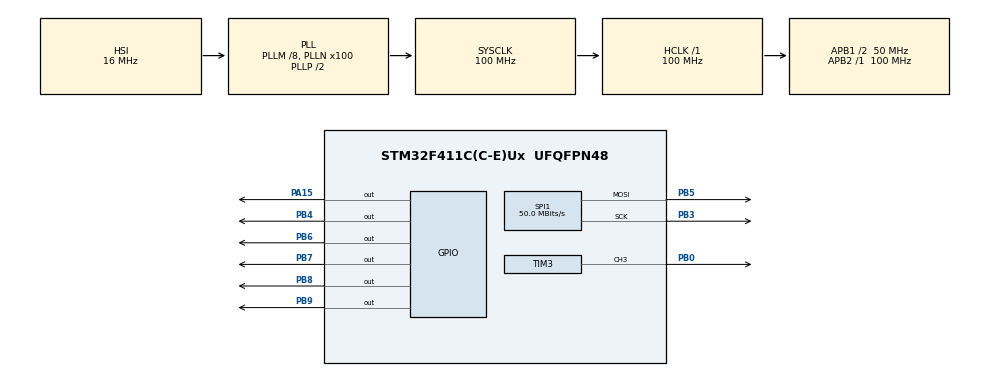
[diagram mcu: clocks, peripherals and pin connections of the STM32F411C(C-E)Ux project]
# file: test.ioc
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Dma.Request0=SPI1_TX
Dma.SPI1_TX.0.Direction=DMA_MEMORY_TO_PERIPH
Dma.SPI1_TX.0.FIFOMode=DMA_FIFOMODE_DISABLE
Dma.SPI1_TX.0.Instance=DMA2_Stream2
Dma.SPI1_TX.0.MemDataAlignment=DMA_MDATAALIGN_BYTE
Dma.SPI1_TX.0.MemInc=DMA_MINC_ENABLE
Dma.SPI1_TX.0.Mode=DMA_NORMAL
Dma.SPI1_TX.0.PeriphDataAlignment=DMA_PDATAALIGN_BYTE
Dma.SPI1_TX.0.PeriphInc=DMA_PINC_DISABLE
Dma.SPI1_TX.0.Priority=DMA_PRIORITY_LOW
FREERTOS.Tasks01=defaultTask,24,128,StartDefaultTask,Default,NULL,Dynamic,NULL,NULL
Mcu.Family=STM32F4
Mcu.Name=STM32F411C(C-E)Ux
Mcu.Package=UFQFPN48
NVIC.DMA2_Stream2_IRQn=true\:5\:0\:true\:false\:true\:true\:false\:true\:true
NVIC.PriorityGroup=NVIC_PRIORITYGROUP_4
NVIC.SPI1_IRQn=true\:5\:0\:true\:false\:true\:true\:true\:true\:true
PA13.Mode=Serial_Wire
PA13.Signal=SYS_JTMS-SWDIO
PA14.Mode=Serial_Wire
PA14.Signal=SYS_JTCK-SWCLK
PA15.PinState=GPIO_PIN_SET
PA15.Signal=GPIO_Output
PB0.Signal=S_TIM3_CH3
PB3.Mode=TX_Only_Simplex_Unidirect_Master
PB3.Signal=SPI1_SCK
PB4.GPIO_Speed=GPIO_SPEED_FREQ_VERY_HIGH
PB4.PinState=GPIO_PIN_SET
PB4.Signal=GPIO_Output
PB5.Mode=TX_Only_Simplex_Unidirect_Master
PB5.Signal=SPI1_MOSI
PB6.GPIO_Speed=GPIO_SPEED_FREQ_VERY_HIGH
PB6.PinState=GPIO_PIN_SET
PB6.Signal=GPIO_Output
PB7.PinState=GPIO_PIN_SET
PB7.Signal=GPIO_Output
PB8.PinState=GPIO_PIN_SET
PB8.Signal=GPIO_Output
PB9.GPIO_Speed=GPIO_SPEED_FREQ_VERY_HIGH
PB9.Signal=GPIO_Output
PC14-OSC32_IN.Mode=LSE-External-Oscillator
PC14-OSC32_IN.Signal=RCC_OSC32_IN
PC15-OSC32_OUT.Mode=LSE-External-Oscillator
PC15-OSC32_OUT.Signal=RCC_OSC32_OUT
ProjectManager.HeapSize=0x200
ProjectManager.StackSize=0x400
ProjectManager.TargetToolchain=MDK-ARM V5.32
RCC.48MHZClocksFreq_Value=50000000
RCC.AHBFreq_Value=100000000
RCC.APB1CLKDivider=RCC_HCLK_DIV2
RCC.APB1Freq_Value=50000000
RCC.APB1TimFreq_Value=100000000
RCC.APB2Freq_Value=100000000
RCC.APB2TimFreq_Value=100000000
RCC.CortexFreq_Value=100000000
RCC.HCLKFreq_Value=100000000
RCC.HSE_VALUE=25000000
RCC.HSI_VALUE=16000000
RCC.PLLM=8
RCC.PLLN=100
RCC.RCC_RTC_Clock_Source=RCC_RTCCLKSOURCE_LSE
RCC.SYSCLKFreq_VALUE=100000000
RCC.SYSCLKSource=RCC_SYSCLKSOURCE_PLLCLK
RCC.VCOOutputFreq_Value=200000000
SH.S_TIM3_CH3.0=TIM3_CH3,PWM Generation3 CH3
SPI1.CLKPhase=SPI_PHASE_2EDGE
SPI1.CLKPolarity=SPI_POLARITY_HIGH
SPI1.CalculateBaudRate=50.0 MBits/s
SPI1.Direction=SPI_DIRECTION_2LINES
SPI1.Mode=SPI_MODE_MASTER
SPI1.VirtualType=VM_MASTER
TIM3.Channel-PWM\ Generation3\ CH3=TIM_CHANNEL_3
TIM3.Period=300
TIM3.Prescaler=99
VP_FREERTOS_VS_CMSIS_V2.Mode=CMSIS_V2
VP_RTC_VS_RTC_Activate.Mode=RTC_Enabled
VP_TIM3_VS_ClockSourceINT.Mode=Internal
board=custom

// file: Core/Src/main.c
/* USER CODE BEGIN Header */
/**
  ******************************************************************************
  * @file           : main.c
  * @brief          : Main program body
  ******************************************************************************
  * @attention
  *
  * Copyright (c) 2026 STMicroelectronics.
  * All rights reserved.
  *
  * This software is licensed under terms that can be found in the LICENSE file
  * in the root directory of this software component.
  * If no LICENSE file comes with this software, it is provided AS-IS.
  *
  ******************************************************************************
  */
/* USER CODE END Header */
#include "main.h"
#include "cmsis_os2.h"
#include "dma.h"
#include "rtc.h"
#include "spi.h"
#include "tim.h"
#include "gpio.h"

void SystemClock_Config(void);
void MX_FREERTOS_Init(void);

int main(void)
{

  /* MCU Configuration--------------------------------------------------------*/

  /* Reset of all peripherals, Initializes the Flash interface and the Systick. */
  HAL_Init();

  /* Configure the system clock */
  SystemClock_Config();

  /* Initialize all configured peripherals */
  MX_GPIO_Init();
  MX_DMA_Init();
  MX_RTC_Init();
  MX_SPI1_Init();
  MX_TIM3_Init();

  /* Init scheduler */
  osKernelInitialize();  /* Call init function for freertos objects (in cmsis_os2.c) */
  MX_FREERTOS_Init();

  /* Start scheduler */
  osKernelStart();

  /* We should never get here as control is now taken by the scheduler */

  /* Infinite loop */
  while (1)
  {

  }
}

void SystemClock_Config(void)
{
  RCC_OscInitTypeDef RCC_OscInitStruct = {0};
  RCC_ClkInitTypeDef RCC_ClkInitStruct = {0};

  /** Configure the main internal regulator output voltage
  */
  __HAL_RCC_PWR_CLK_ENABLE();
  __HAL_PWR_VOLTAGESCALING_CONFIG(PWR_REGULATOR_VOLTAGE_SCALE1);

  /** Initializes the RCC Oscillators according to the specified parameters
  * in the RCC_OscInitTypeDef structure.
  */
  RCC_OscInitStruct.OscillatorType = RCC_OSCILLATORTYPE_HSI|RCC_OSCILLATORTYPE_LSE;
  RCC_OscInitStruct.LSEState = RCC_LSE_ON;
  RCC_OscInitStruct.HSIState = RCC_HSI_ON;
  RCC_OscInitStruct.HSICalibrationValue = RCC_HSICALIBRATION_DEFAULT;
  RCC_OscInitStruct.PLL.PLLState = RCC_PLL_ON;
  RCC_OscInitStruct.PLL.PLLSource = RCC_PLLSOURCE_HSI;
  RCC_OscInitStruct.PLL.PLLM = 8;
  RCC_OscInitStruct.PLL.PLLN = 100;
  RCC_OscInitStruct.PLL.PLLP = RCC_PLLP_DIV2;
  RCC_OscInitStruct.PLL.PLLQ = 4;
  if (HAL_RCC_OscConfig(&RCC_OscInitStruct) != HAL_OK)
  {
    Error_Handler();
  }

  /** Initializes the CPU, AHB and APB buses clocks
  */
  RCC_ClkInitStruct.ClockType = RCC_CLOCKTYPE_HCLK|RCC_CLOCKTYPE_SYSCLK
                              |RCC_CLOCKTYPE_PCLK1|RCC_CLOCKTYPE_PCLK2;
  RCC_ClkInitStruct.SYSCLKSource = RCC_SYSCLKSOURCE_PLLCLK;
  RCC_ClkInitStruct.AHBCLKDivider = RCC_SYSCLK_DIV1;
  RCC_ClkInitStruct.APB1CLKDivider = RCC_HCLK_DIV2;
  RCC_ClkInitStruct.APB2CLKDivider = RCC_HCLK_DIV1;

  if (HAL_RCC_ClockConfig(&RCC_ClkInitStruct, FLASH_LATENCY_3) != HAL_OK)
  {
    Error_Handler();
  }
}

void Error_Handler(void)
{
  __disable_irq();
  while (1)
  {
  }
}

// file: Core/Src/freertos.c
/* USER CODE BEGIN Header */
/**
  ******************************************************************************
  * File Name          : freertos.c
  * Description        : Code for freertos applications
  ******************************************************************************
  * @attention
  *
  * Copyright (c) 2026 STMicroelectronics.
  * All rights reserved.
  *
  * This software is licensed under terms that can be found in the LICENSE file
  * in the root directory of this software component.
  * If no LICENSE file comes with this software, it is provided AS-IS.
  *
  ******************************************************************************
  */
/* USER CODE END Header */

#include "FreeRTOS.h"
#include "task.h"
#include "main.h"
#include "cmsis_os2.h"

/* USER CODE BEGIN Includes */
#include "HardWare_Init_Task.h"
#include "HeartRate_Task.h"
#include "LVGL_Task.h"
#include "Power_Task.h"
#include "Print_Task.h"
#include "Sensor_Task.h"
#include "Watchdog_Task.h"
#include "freertos_debug.h"

/* USER CODE END Includes */

/* USER CODE BEGIN PD */
#define WATCHDOG_TASK_ENABLE 0U
#define PRINT_TASK_ENABLE 0U

/* USER CODE END PD */

/* USER CODE BEGIN Variables */
/* Definitions for watchdogTask */
osThreadId_t watchdogTaskHandle;
const osThreadAttr_t watchdogTask_attributes = {
  .name = "watchdogTask",
  .stack_size = 128 * 4,
  .priority = (osPriority_t) osPriorityNormal1,
};

/* Definitions for sensorTask */
osThreadId_t sensorTaskHandle;
const osThreadAttr_t sensorTask_attributes = {
  .name = "sensorTask",
  .stack_size = 256 * 4,
  .priority = (osPriority_t) osPriorityLow1,
};

/* Definitions for powerTask */
osThreadId_t powerTaskHandle;
const osThreadAttr_t powerTask_attributes = {
  .name = "powerTask",
  .stack_size = 256 * 4,
  .priority = (osPriority_t) osPriorityNormal1,
};

/* Definitions for heartRateTask */
osThreadId_t heartRateTaskHandle;
const osThreadAttr_t heartRateTask_attributes = {
  .name = "heartRateTask",
  .stack_size = 256 * 4,
  .priority = (osPriority_t) osPriorityLow1,
};

/* Definitions for printTask */
osThreadId_t printTaskHandle;
const osThreadAttr_t printTask_attributes = {
  .name = "printTask",
  .stack_size = (256 * 4) + 128,
  .priority = (osPriority_t) osPriorityAboveNormal1,
};

/* USER CODE END Variables */
/* Definitions for defaultTask */
osThreadId_t defaultTaskHandle;
const osThreadAttr_t defaultTask_attributes = {
  .name = "defaultTask",
  .stack_size = 256 * 4,
  .priority = (osPriority_t) osPriorityLow,
};

/* Definitions for hardWareInitTask */
osThreadId_t hardWareInitTaskHandle;
const osThreadAttr_t hardWareInitTask_attributes = {
  .name = "hwInitTask",
  .stack_size = 512 * 4,
  .priority = (osPriority_t) osPriorityAboveNormal,
};

/* Definitions for lvglTask */
osThreadId_t lvglTaskHandle;
const osThreadAttr_t lvglTask_attributes = {
  .name = "lvglTask",
  .stack_size = 1024 * 6,
  .priority = (osPriority_t) osPriorityNormal,
};

/* Definitions for keyTask */
osThreadId_t keyTaskHandle;
const osThreadAttr_t keyTask_attributes = {
  .name = "keyTask",
  .stack_size = 256 * 4,
  .priority = (osPriority_t) osPriorityLow1,
};

/* USER CODE BEGIN FunctionPrototypes */
void Key_Task(void *argument);

/* USER CODE END FunctionPrototypes */

void StartDefaultTask(void *argument);

void MX_FREERTOS_Init(void); /* (MISRA C 2004 rule 8.1) */

void MX_FREERTOS_Init(void) {

  /* USER CODE BEGIN RTOS_TIMERS */
  Power_Task_InitObjects();
  /* USER CODE END RTOS_TIMERS */

  /* Create the thread(s) */
  /* creation of defaultTask */
  defaultTaskHandle = osThreadNew(StartDefaultTask, NULL, &defaultTask_attributes);

  /* USER CODE BEGIN RTOS_THREADS */
  /* add threads, ... */
  /* creation of hardWareInitTask */
  hardWareInitTaskHandle = osThreadNew(HardWare_Init_Task, NULL, &hardWareInitTask_attributes);

  /* creation of lvglTask */
  lvglTaskHandle = osThreadNew(LVGL_Task, NULL, &lvglTask_attributes);

  /* creation of keyTask */
  keyTaskHandle = osThreadNew(Key_Task, NULL, &keyTask_attributes);

  /* creation of sensorTask */
  sensorTaskHandle = osThreadNew(Sensor_Task, NULL, &sensorTask_attributes);

  /* creation of powerTask */
  powerTaskHandle = osThreadNew(Power_Task, NULL, &powerTask_attributes);

  /* creation of printTask */
#if (PRINT_TASK_ENABLE != 0U)
  printTaskHandle = osThreadNew(Print_Task, NULL, &printTask_attributes);
#else
  // 当前构建关闭历史调试打印任务，避免创建无用途的串口输出线程。
  printTaskHandle = NULL;
#endif

  /* creation of heartRateTask */
  heartRateTaskHandle = osThreadNew(HeartRate_Task, NULL, &heartRateTask_attributes);

  /* creation of watchdogTask */
#if (WATCHDOG_TASK_ENABLE != 0U)
  watchdogTaskHandle = osThreadNew(Watchdog_Task, NULL, &watchdogTask_attributes);
#else
  // 调试期间关闭外部看门狗任务，避免断点暂停时复位；恢复时将 WATCHDOG_TASK_ENABLE 改为 1U。
  watchdogTaskHandle = NULL;
#endif

  (void)FreeRTOS_Debug_RegisterTask((TaskHandle_t)defaultTaskHandle, defaultTask_attributes.name);
  (void)FreeRTOS_Debug_RegisterTask((TaskHandle_t)hardWareInitTaskHandle, hardWareInitTask_attributes.name);
  (void)FreeRTOS_Debug_RegisterTask((TaskHandle_t)lvglTaskHandle, lvglTask_attributes.name);
  (void)FreeRTOS_Debug_RegisterTask((TaskHandle_t)keyTaskHandle, keyTask_attributes.name);
  (void)FreeRTOS_Debug_RegisterTask((TaskHandle_t)sensorTaskHandle, sensorTask_attributes.name);
  (void)FreeRTOS_Debug_RegisterTask((TaskHandle_t)powerTaskHandle, powerTask_attributes.name);
#if (PRINT_TASK_ENABLE != 0U)
  (void)FreeRTOS_Debug_RegisterTask((TaskHandle_t)printTaskHandle, printTask_attributes.name);
#endif
  (void)FreeRTOS_Debug_RegisterTask((TaskHandle_t)heartRateTaskHandle, heartRateTask_attributes.name);
#if (WATCHDOG_TASK_ENABLE != 0U)
  (void)FreeRTOS_Debug_RegisterTask((TaskHandle_t)watchdogTaskHandle, watchdogTask_attributes.name);
#endif
  /* USER CODE END RTOS_THREADS */

}

void StartDefaultTask(void *argument)
{
  /* USER CODE BEGIN StartDefaultTask */
  (void)argument;

  /* Infinite loop */
  for(;;)
  {
    osDelay(1);
  }
  /* USER CODE END StartDefaultTask */
}
